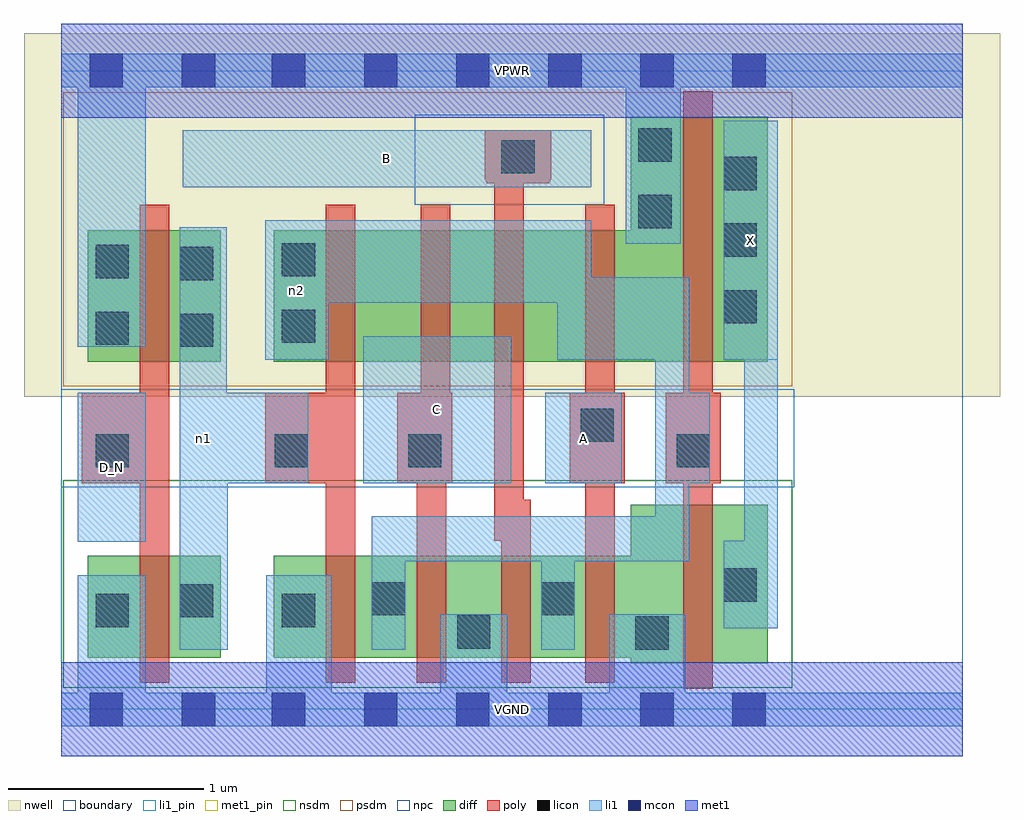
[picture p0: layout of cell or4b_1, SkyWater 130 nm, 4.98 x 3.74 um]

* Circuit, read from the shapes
.subckt or4b_1 A B C D_N VGND VPWR X n1 n2
XM1 n1 D_N VGND VSUBS sky130_fd_pr__nfet_01v8 w=0.52 l=0.15
XM2 n2 n1 VGND VSUBS sky130_fd_pr__nfet_01v8 w=0.52 l=0.15
XM3 VGND C n2 VSUBS sky130_fd_pr__nfet_01v8 w=0.52 l=0.15
XM4 n2 B VGND VSUBS sky130_fd_pr__nfet_01v8 w=0.52 l=0.15
XM5 VGND A n2 VSUBS sky130_fd_pr__nfet_01v8 w=0.52 l=0.15
XM6 X n2 VGND VSUBS sky130_fd_pr__nfet_01v8 w=0.81 l=0.15
XM7 n1 D_N VPWR n3 sky130_fd_pr__pfet_01v8 w=0.67 l=0.15
XM8 n4 n1 n2 n3 sky130_fd_pr__pfet_01v8 w=0.67 l=0.15
XM9 n5 C n4 n3 sky130_fd_pr__pfet_01v8 w=0.67 l=0.15
XM10 n6 B n5 n3 sky130_fd_pr__pfet_01v8 w=0.67 l=0.15
XM11 VPWR A n6 n3 sky130_fd_pr__pfet_01v8 w=0.67 l=0.15
XM12 X n2 VPWR n3 sky130_fd_pr__pfet_01v8 w=1.25 l=0.15
.ends

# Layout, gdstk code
import gdstk
lib = gdstk.Library(unit=1e-6, precision=1e-09)
def R(c, l, rs):  # rectangles x0, y0, x1, y1
    for r in rs: c.add(gdstk.rectangle(r[:2], r[2:], *l))
def A(c, l, x, y, w, h, nx, ny, dx, dy):  # array of equal rectangles
    R(c, l, [(x+i*dx, y+j*dy, x+i*dx+w, y+j*dy+h) for i in range(nx) for j in range(ny)])
nwell = (64, 20)
diff = (65, 20)
poly = (66, 20)
licon = (66, 44)
li1_pin = (67, 16)
li1 = (67, 20)
mcon = (67, 44)
met1_pin = (68, 16)
met1 = (68, 20)
nsdm = (93, 44)
psdm = (94, 20)
npc = (95, 20)
boundary = (235, 4)

or4b_1 = lib.new_cell('or4b_1')
R(or4b_1, nwell, [(-0.19,1.595,4.79,3.45), (0,1.595,4.6,3.45)])
R(or4b_1, diff, [(2.905,0.235,3.605,1.045), (0.135,0.265,0.815,0.785), (1.085,0.265,3.605,0.785), (0.135,1.775,0.815,2.445), (1.085,1.775,3.605,2.445), (2.905,1.775,3.605,3.025)])
R(or4b_1, poly, [(3.175,0.105,3.325,3.155), (0.4,0.135,0.55,2.575), (1.35,0.135,1.5,2.575), (1.815,0.135,1.965,1.615), (2.245,0.135,2.395,1.07), (2.675,0.135,2.825,2.575), (2.21,0.86,2.36,2.955), (0.105,1.155,0.55,1.615), (1.04,1.155,1.5,1.615), (1.715,1.155,1.995,1.615), (1.835,1.155,1.985,2.575), (2.595,1.155,2.875,1.615), (3.085,1.155,3.365,1.615), (2.17,2.685,2.49,2.955), (2.165,2.695,2.495,2.955), (2.16,2.705,2.5,2.955)])
A(or4b_1, licon, 3.38, 1.97, 0.17, 0.17, 1, 3, 0, 0.34)
R(or4b_1, licon, [(2.93,0.305,3.1,0.475), (2.02,0.31,2.19,0.48), (0.175,0.42,0.345,0.59), (1.125,0.42,1.295,0.59), (0.605,0.47,0.775,0.64), (1.585,0.48,1.755,0.65), (2.45,0.48,2.62,0.65), (3.38,0.55,3.55,0.72), (0.175,1.235,0.345,1.405), (1.09,1.235,1.26,1.405), (1.77,1.235,1.94,1.405), (3.14,1.235,3.31,1.405), (2.65,1.365,2.82,1.535), (0.605,1.85,0.775,2.02), (0.175,1.86,0.345,2.03), (1.125,1.87,1.295,2.04), (0.605,2.19,0.775,2.36), (0.175,2.2,0.345,2.37), (1.125,2.21,1.295,2.38), (2.945,2.455,3.115,2.625), (2.245,2.735,2.415,2.905), (2.945,2.795,3.115,2.965)])
R(or4b_1, li1_pin, [(0.085,0.855,0.43,1.615), (1.54,1.155,2.295,1.905), (2.47,1.155,2.86,1.615), (3.38,1.785,3.655,3.005), (0.62,2.665,2.705,2.955)])
R(or4b_1, li1, [(0,-0.085,4.6,0.085), (0.085,-0.085,0.43,0.685), (1.045,-0.085,1.38,0.685), (1.935,-0.085,2.275,0.485), (2.795,-0.085,3.185,0.485), (0.605,0.305,0.845,2.46), (0.605,0.305,0.85,1.615), (1.585,0.305,1.755,0.985), (2.45,0.305,2.62,0.985), (3.38,0.415,3.655,0.86), (3.485,0.415,3.655,3.005), (1.585,0.755,3.205,0.985), (3.03,0.755,3.205,2.205), (0.085,0.855,0.43,1.615), (0.605,1.155,1.26,1.615), (1.54,1.155,2.295,1.905), (2.47,1.155,2.86,1.615), (3.03,1.155,3.31,1.615), (1.04,1.785,1.365,2.495), (2.53,1.785,3.205,2.205), (2.53,1.785,2.705,2.495), (3.38,1.785,3.655,3.005), (0.085,1.85,0.43,3.345), (1.04,2.075,2.705,2.495), (2.88,2.375,3.16,3.345), (0.62,2.665,2.705,2.955), (0,3.175,4.6,3.345)])
A(or4b_1, mcon, 1.075, -0.085, 0.17, 0.17, 6, 2, 0.47, 3.26)
R(or4b_1, mcon, [(0.145,-0.085,0.315,0.085), (0.615,-0.085,0.785,0.085), (0.145,3.175,0.315,3.345), (0.615,3.175,0.785,3.345)])
R(or4b_1, met1_pin, [(0,-0.24,4.6,0.24), (0,3.02,4.6,3.5)])
R(or4b_1, met1, [(0,-0.24,4.6,0.24), (0,3.02,4.6,3.5)])
R(or4b_1, nsdm, [(0.01,0.11,3.73,1.17)])
R(or4b_1, psdm, [(0.01,1.65,3.73,3.15)])
R(or4b_1, npc, [(0,1.135,3.74,1.635), (1.805,2.575,2.77,3.035)])
R(or4b_1, boundary, [(0,0,4.6,3.26)])
or4b_1.add(gdstk.Label('A', (2.665,1.385), layer=67, texttype=5))
or4b_1.add(gdstk.Label('B', (1.662,2.81), layer=67, texttype=5))
or4b_1.add(gdstk.Label('C', (1.917,1.53), layer=67, texttype=5))
or4b_1.add(gdstk.Label('D_N', (0.257,1.235), layer=67, texttype=5))
or4b_1.add(gdstk.Label('X', (3.517,2.395), layer=67, texttype=5))
or4b_1.add(gdstk.Label('n1', (0.725,1.382), layer=67, texttype=5))
or4b_1.add(gdstk.Label('n2', (1.202,2.14), layer=67, texttype=5))
or4b_1.add(gdstk.Label('VPWR', (2.3,3.26), layer=68, texttype=5))
or4b_1.add(gdstk.Label('VGND', (2.3,0), layer=68, texttype=5))
or4b_1.add(gdstk.Label('A', (2.665,1.385), layer=67, texttype=16))
or4b_1.add(gdstk.Label('B', (1.662,2.81), layer=67, texttype=16))
or4b_1.add(gdstk.Label('C', (1.917,1.53), layer=67, texttype=16))
or4b_1.add(gdstk.Label('D_N', (0.257,1.235), layer=67, texttype=16))
or4b_1.add(gdstk.Label('X', (3.517,2.395), layer=67, texttype=16))
or4b_1.add(gdstk.Label('VPWR', (2.3,3.26), layer=68, texttype=16))
or4b_1.add(gdstk.Label('VGND', (2.3,0), layer=68, texttype=16))

lib.write_gds('or4b_1.gds')
